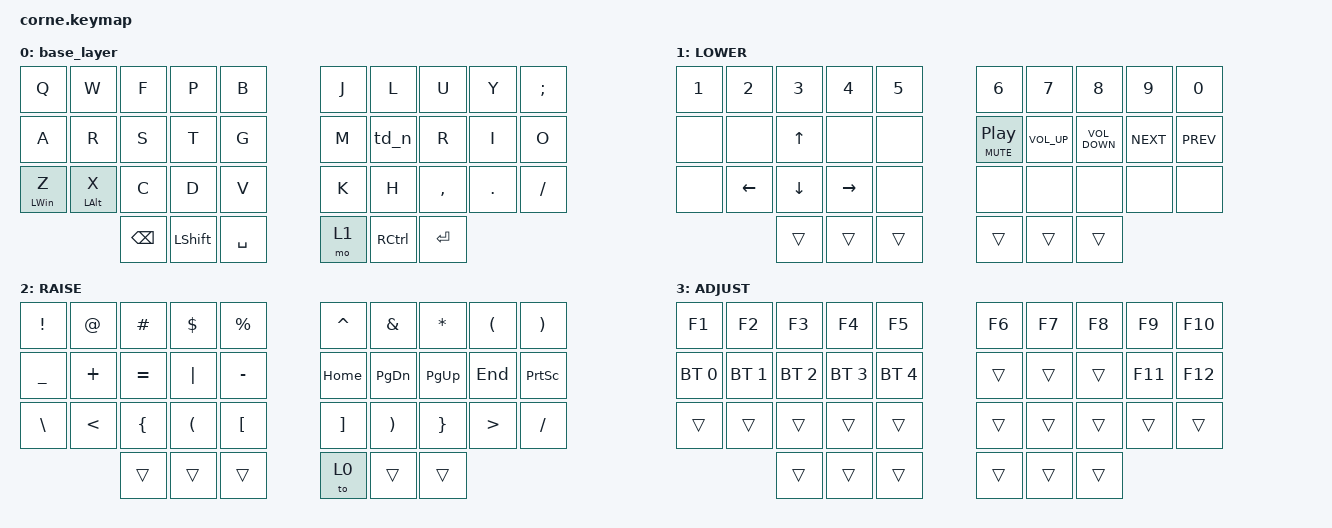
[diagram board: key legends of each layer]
/*
 * Copyright (c) 2020 The ZMK Contributors
 *
 * SPDX-License-Identifier: MIT
 */

#include <behaviors.dtsi>
#include <dt-bindings/zmk/bt.h>
#include <dt-bindings/zmk/keys.h>

// Layer Definitions

#define DEF 0
#define LWR 1
#define RSE 2
#define ADJ 3

&mt {
    tapping-term-ms = <201>;
    flavor = "tap-preferred";
};

&sk {
    release-after-ms = <2000>;
    quick-release;
};

// Helper for defining combos

#define COMBO(NAME, TIMEOUT, BINDINGS, KEYPOS, LAYERS) \
combo_##NAME { \
    timeout-ms = <TIMEOUT>; \
    bindings = <BINDINGS>; \
    key-positions = <KEYPOS>; \
    layers = <LAYERS>; \
};

/ {
    combos {
        compatible = "zmk,combos";

        COMBO(escape, 50, &kp ESC, 0 1, 0)

        left_parenthesis {
            bindings = <&kp LEFT_PARENTHESIS>;
            key-positions = <6 7>;
            layers = <0>;
        };

        right_parenthesis {
            bindings = <&kp RIGHT_PARENTHESIS>;
            key-positions = <7 8>;
            layers = <0>;
        };

        left_bracket {
            bindings = <&kp LEFT_BRACKET>;
            key-positions = <18 19>;
            layers = <0>;
        };

        right_bracket {
            bindings = <&kp RIGHT_BRACKET>;
            key-positions = <19 20>;
            layers = <0>;
        };

        left_brace {
            bindings = <&kp LEFT_BRACE>;
            key-positions = <30 31>;
            layers = <0>;
        };

        right_brace {
            bindings = <&kp RIGHT_BRACE>;
            key-positions = <31 32>;
        };

        grave {
            bindings = <&kp GRAVE>;
            key-positions = <16 17>;
        };

        tab {
            bindings = <&kp TAB>;
            key-positions = <28 29>;
        };

        esc {
            bindings = <&kp ESCAPE>;
            key-positions = <4 5>;
        };
    };

    behaviors {
        hm_l: homerow_mods_left {
            compatible = "zmk,behavior-hold-tap";
            label = "HOMEROW_MODS_L";
            #binding-cells = <2>;
            tapping-term-ms = <300>;
            quick-tap-ms = <250>;
            flavor = "tap-preferred";
            bindings = <&kp>, <&kp>;
        };

        hm_r: homerow_mods_right {
            compatible = "zmk,behavior-hold-tap";
            label = "HOMEROW_MODS_R";
            #binding-cells = <2>;
            tapping-term-ms = <300>;
            quick-tap-ms = <250>;
            flavor = "tap-preferred";
            bindings = <&kp>, <&kp>;
        };

        mo_to: mo_to {
            compatible = "zmk,behavior-hold-tap";
            label = "MO_TO";
            bindings = <&mo>, <&to>;

            #binding-cells = <2>;
            tapping-term-ms = <200>;
            flavor = "hold-preferred";
        };

        td_n: td_n {
            compatible = "zmk,behavior-tap-dance";
            label = "TD_N";
            #binding-cells = <0>;
            bindings = <&kp N>, <&kp SEMICOLON>;
        };
    };

    conditional_layers {
        compatible = "zmk,conditional-layers";

        tri_layer {
            if-layers = <LWR RSE>;
            then-layer = <ADJ>;
        };
    };

    keymap {
        compatible = "zmk,keymap";

        base_layer {
            // .----------------------------------------------------------.       .-----------------------------------------------------------.
            // |   TAB    |    Q    |    W   |   E    |    R    |    T    |       |   Y   |    U    |    I    |    O    |     P    |   BSPC   |
            // |----------+---------+--------+--------+---------+---------|       |-------+---------+---------+---------+----------+----------|
            // |   GESC   |    A    |    S   |   D    |    F    |    G    |       |   H   |    J    |    K    |    L    |     ;    |     '    |
            // |----------+---------+--------+--------+---------+---------|       |-------+---------+---------+---------+----------+----------|
            // |   SHFT   |    Z    |    X   |   C    |    V    |    B    |       |   N   |    M    |    ,    |    .    |     /    |    DEL   |
            // '-----------------------------+--------+---------+---------+       |-------+---------+---------+-------------------------------'
            //                               |  GUI   |  LSFT   |   ENT   |       |  SPC  |  RSHFT  |   GUI   |
            //                               '--------+---------+---------'       '-------+---------+---------'

            bindings = <
&kp Q           &kp W           &kp F          &kp P           &kp B        &kp J  &kp L              &kp U      &kp Y    &kp SEMI
&kp A           &kp R           &kp S          &kp T           &kp G        &kp M  &td_n              &kp R      &kp I    &kp O
&mt LEFT_WIN Z  &mt LEFT_ALT X  &kp C          &kp D           &kp V        &kp K  &kp H              &kp COMMA  &kp DOT  &kp FSLH
                                       &kp BACKSPACE  &kp LEFT_SHIFT  &kp SPACE    &mo 1  &kp RIGHT_CONTROL  &kp ENTER
            >;
        };

        LOWER {
            // .----------------------------------------------------------.       .---------------------------------------------------------------.
            // |          |   1   |    2   |   3    |     4    |     5    |       |    6   |     7   |     8   |    9    |     0    |             |
            // |----------+-------+--------+--------+----------+----------|       |--------+---------+---------+---------+----------+-------------|
            // |          |   🔇  |   🔈   |   🔊   |    ⏩    |     ▶    |       |    ⬆   |    ⬇    |    ⬅    |    ⮕   |          |             |
            // |----------+-------+--------+--------+----------+----------|       |--------+---------+---------+---------+----------+-------------|
            // |          |  UNDO |  CUT   |  COPY  |  PASTE   |   PGDN   |       |  CAPS  |   INS   |         |         |          |             |
            // '---------------------------+--------+----------+----------+       |--------+---------+---------+----------------------------------'
            //                             |        |          |          |       |        |         |         |
            //                             '--------+----------+----------'       '--------+---------+---------'

            bindings = <
&kp N1  &kp N2          &kp N3          &kp N4           &kp N5    &kp N6                   &kp N7           &kp N8             &kp N9      &kp N0
&none   &none           &kp UP_ARROW    &none            &none     &mt K_MUTE C_PLAY_PAUSE  &kp K_VOLUME_UP  &kp K_VOLUME_DOWN  &kp K_NEXT  &kp K_PREV
&none   &kp LEFT_ARROW  &kp DOWN_ARROW  &kp RIGHT_ARROW  &none     &none                    &none            &none              &none       &none
                               &trans          &trans           &trans    &trans                   &trans           &trans
            >;
        };

        RAISE {
            // .----------------------------------------------------------.       .-----------------------------------------------------------.
            // |   ESC    |    !    |    @   |   #    |    $    |    %    |       |   ^   |    &    |    *    |    (    |     )    |          |
            // |----------+---------+--------+--------+---------+---------|       |-------+---------+---------+---------+----------+----------|
            // |          |    _    |    +   |   =    |    |    |    -    |       |  HOME |   PGDN  |   PGUP  |   END   |   PSCRN  |    `     |
            // |----------+---------+--------+--------+---------+---------|       |-------+---------+---------+---------+----------+----------|
            // |          |    \    |    <   |   {    |    (    |    [    |       |   ]   |    )    |    }    |    >    |     /    |          |
            // '-----------------------------+--------+---------+---------+       |-------+---------+---------+-------------------------------'
            //                               |        |         |         |       |       |         |         |
            //                               '--------+---------+---------'       '-------+---------+---------'

            bindings = <
&kp EXCL   &kp AT    &kp HASH   &kp DLLR  &kp PRCNT    &kp CARET  &kp AMPS   &kp ASTRK  &kp LPAR  &kp RPAR
&kp UNDER  &kp PLUS  &kp EQUAL  &kp PIPE  &kp MINUS    &kp HOME   &kp PG_DN  &kp PG_UP  &kp END   &kp PSCRN
&kp BSLH   &kp LT    &kp LBRC   &kp LPAR  &kp LBKT     &kp RBKT   &kp RPAR   &kp RBRC   &kp GT    &kp FSLH
                              &trans     &trans    &trans       &to 0      &trans     &trans
            >;
        };

        ADJUST {
            // .---------------------------------------------------------.       .--------------------------------------------------------------.
            // |          |   F1   |   F2   |   F3   |   F4    |   F5    |       |   F6   |   F7   |   F8    |   F9    |   F10    |             |
            // |----------+--------+--------+--------+---------+---------|       |--------+--------+---------+---------+----------+-------------|
            // |  BTCLR   |  BT1   |  BT2   |  BT3   |  BT4    |  BT5    |       |        |        |         |   F11   |   F12    |  BT Toggle  |
            // |----------+--------+--------+--------+---------+---------|       |--------+--------+---------+---------+----------+-------------|
            // |          |        |        |        |         |         |       |        |        |         |         |          |             |
            // '----------------------------+--------+---------+---------+       |--------+--------+---------+----------------------------------'
            //                              |        |         |         |       |        |        |         |
            //                              '--------+---------+---------'       '--------+--------+---------'

            bindings = <
&kp F1        &kp F2        &kp F3        &kp F4        &kp F5          &kp F6  &kp F7  &kp F8  &kp F9   &kp F10
&bt BT_SEL 0  &bt BT_SEL 1  &bt BT_SEL 2  &bt BT_SEL 3  &bt BT_SEL 4    &trans  &trans  &trans  &kp F11  &kp F12
&trans        &trans        &trans        &trans        &trans          &trans  &trans  &trans  &trans   &trans
                                        &trans        &trans        &trans          &trans  &trans  &trans
            >;
        };
    };
};
